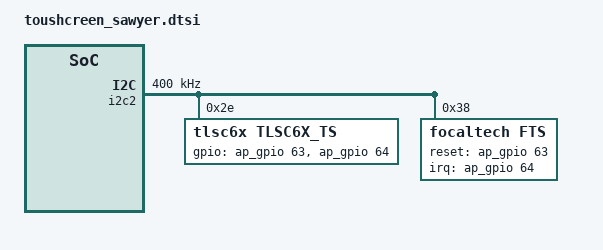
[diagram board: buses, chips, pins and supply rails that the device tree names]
&i2c2 {
	clock-frequency = <400000>;
	status = "okay";

	tlsc6x_ts@2e {
		compatible = "tlsc6x,tlsc6x_ts";
		reg = <0x2e>;
		gpios = <&ap_gpio 63 0
			&ap_gpio 64 0>;

		/*  vdd28 is always on */
		/* vdd_name = "vdd28"; */

		TP_MAX_X = <480>;
		TP_MAX_Y = <960>;
	};

	focaltech@38 {
		compatible = "focaltech,fts";
		reg = <0x38>;
		focaltech,reset-gpio = <&ap_gpio 63 0x00>;
		focaltech,irq-gpio = <&ap_gpio 64 0x00>;

		focaltech,display-coords = <0 0 479 959>;
		focaltech,max-touch-number = <10>;
	};

};
